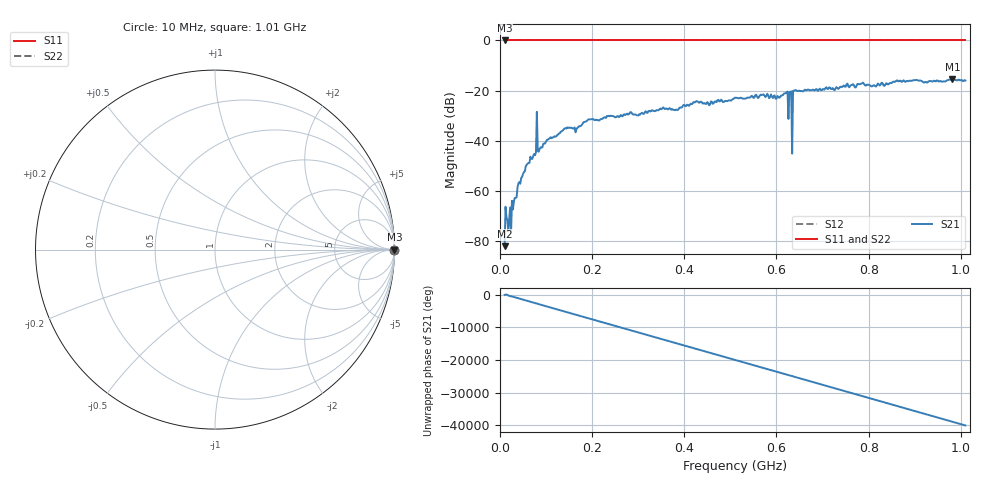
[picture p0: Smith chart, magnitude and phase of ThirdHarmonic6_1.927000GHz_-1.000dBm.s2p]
! 8/16/2025 11:13:55 PM
! C:\ANRITSUVNA\TEMP\TEMP.S2P
! CHANNEL.1
! TR.MEASUREMENT
! RAW.DATA
! RF.CORRECTION.OFF
! AVERAGING.OFF
! IF.BANDWIDTH: 5KHZ
! SWEEPTYPE:  FREQ.SWEEP(Linear)
! Reference Plane Port Info
! PORT:  PORT1  PORT2
! DISTANCE:  0  m  0  m
! TIME:  0  s  0  s
! PHASE.OFFSET:  0  deg.  0  deg.
! LOSS:  0  dB  0  dB
! REF.LOSS:  0  dB  0  dB
! REF.FREQ:  0  Hz  0  Hz
! Power Info
! POWER:  -20  dBm  -20  dBm
! EFF.POWER:  -20  dBm  -20  dBm
! SOURCE.ATTEN:  0  dB  0  dB
! TEST.ATTEN:  0  dB  0  dB
# GHZ S RI R 50.0
! FREQ.GHZ  S11RE  S11IM  S21RE  S21IM  S12RE  S12IM  S22RE  S22IM
!; PortSelection: Port_12
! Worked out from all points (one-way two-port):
!   501 points, 10 MHz to 1.01 GHz, reference 50 ohm
!   highest |S21| = -15.48 dB at 982 MHz (marker M1); lowest = -82.0 dB at 10 MHz (marker M2)
!   lowest |S11| = 0.0 dB at 10 MHz (marker M3)
!   |S11| at or under -10 dB: nowhere
!   |S22| runs from 0.0 to 0.0 dB; largest |S21 - S12| = 1.2
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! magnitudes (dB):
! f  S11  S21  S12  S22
! 10 MHz  0.0  -82.0  0.0  0.0
! 16 MHz  0.0  -71.8  0.0  0.0
! 20 MHz  0.0  -71.4  0.0  0.0
! 42 MHz  0.0  -56.4  0.0  0.0
! 74 MHz  0.0  -45.2  0.0  0.0
! 76 MHz  0.0  -45.7  0.0  0.0
! 84 MHz  0.0  -44.4  0.0  0.0
! 86 MHz  0.0  -43.3  0.0  0.0
! 142 MHz  0.0  -34.9  0.0  0.0
! 178 MHz  0.0  -33.5  0.0  0.0
! 344 MHz  0.0  -27.8  0.0  0.0
! 510 MHz  0.0  -22.8  0.0  0.0
! 620 MHz  0.0  -21.0  0.0  0.0
! 628 MHz  0.0  -20.5  0.0  0.0
! 630 MHz  0.0  -20.5  0.0  0.0
! 632 MHz  0.0  -20.3  0.0  0.0
! 638 MHz  0.0  -20.0  0.0  0.0
! 640 MHz  0.0  -19.9  0.0  0.0
! 678 MHz  0.0  -19.7  0.0  0.0
! 844 MHz  0.0  -17.3  0.0  0.0
! 982 MHz  0.0  -15.5  0.0  0.0
! 1.01 GHz  0.0  -16.0  0.0  0.0
